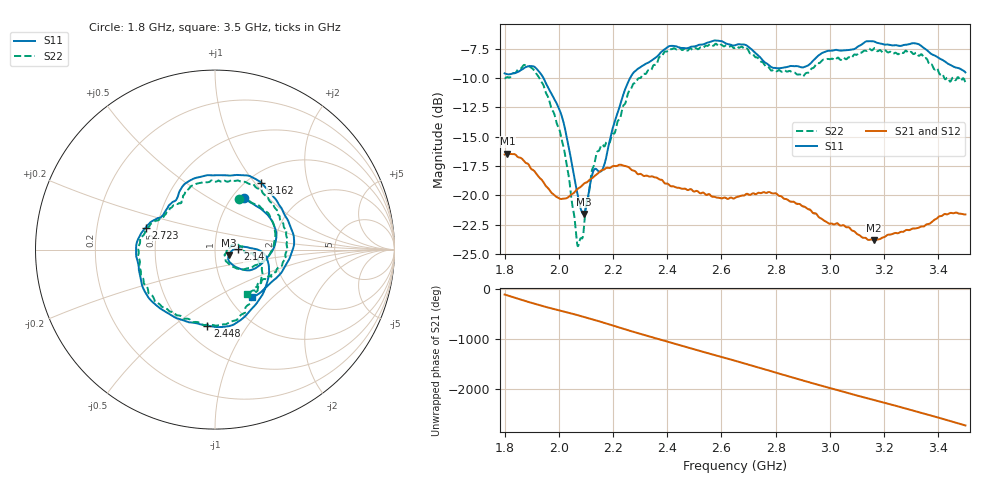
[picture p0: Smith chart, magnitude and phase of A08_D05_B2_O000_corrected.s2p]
! Created with skrf 1.9.0 (http://scikit-rf.org).
# Hz S RI R 50.0
!freq ReS11 ImS11 ReS21 ImS21 ReS12 ImS12 ReS22 ImS22
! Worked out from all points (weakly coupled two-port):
!   1601 points, 1.8 GHz to 3.5 GHz, reference 50 ohm
!   highest |S21| = -16.44 dB at 1.811 GHz (marker M1); lowest = -23.8 dB at 3.162 GHz (marker M2)
!   lowest |S11| = -21.6 dB at 2.091 GHz (marker M3), VSWR 1.18, Z = 58.3 - j3.53 ohm
!   |S11| at or under -10 dB: 1.943 GHz to 2.263 GHz (319.6 MHz wide, 15.2 % of centre)
!   |S22| runs from -24.3 to -7.1 dB; largest |S21 - S12| = 0.0028
!   S11 on the Smith chart (normalised r, x): 1.8 GHz: 1.13, +0.73; 2.14 GHz: 1.30, +0.01; 2.448 GHz: 0.65, -0.67; 2.723 GHz: 0.43, +0.13; 3.162 GHz: 1.15, +1.08; 3.5 GHz: 1.28, -0.75
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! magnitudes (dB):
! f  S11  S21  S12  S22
! 1.8 GHz  -9.6  -16.5  -16.5  -10.0
! 1.811 GHz  -9.7  -16.4  -16.4  -9.9
! 1.88 GHz  -9.1  -17.3  -17.2  -8.9
! 1.941 GHz  -9.9  -18.8  -18.8  -10.5
! 2.013 GHz  -13.4  -20.3  -20.3  -15.5
! 2.067 GHz  -19.7  -19.5  -19.5  -24.0
! 2.084 GHz  -21.3  -19.2  -19.2  -23.7
! 2.091 GHz  -21.6  -19.0  -19.1  -23.1
! 2.14 GHz  -17.8  -18.2  -18.2  -16.4
! 2.166 GHz  -17.5  -17.8  -17.8  -15.8
! 2.204 GHz  -13.9  -17.5  -17.5  -14.7
! 2.263 GHz  -10.0  -17.7  -17.7  -11.1
! 2.367 GHz  -8.1  -18.6  -18.5  -8.4
! 2.448 GHz  -7.4  -19.4  -19.4  -7.5
! 2.65 GHz  -7.2  -20.2  -20.2  -7.4
! 2.723 GHz  -7.8  -19.9  -19.8  -8.2
! 2.796 GHz  -9.1  -19.8  -19.8  -9.3
! 2.934 GHz  -8.6  -21.4  -21.4  -9.2
! 3.162 GHz  -6.9  -23.8  -23.8  -7.5
! 3.217 GHz  -7.2  -23.3  -23.3  -7.8
! 3.324 GHz  -7.1  -22.8  -22.7  -8.0
! 3.5 GHz  -9.5  -21.6  -21.6  -10.3
